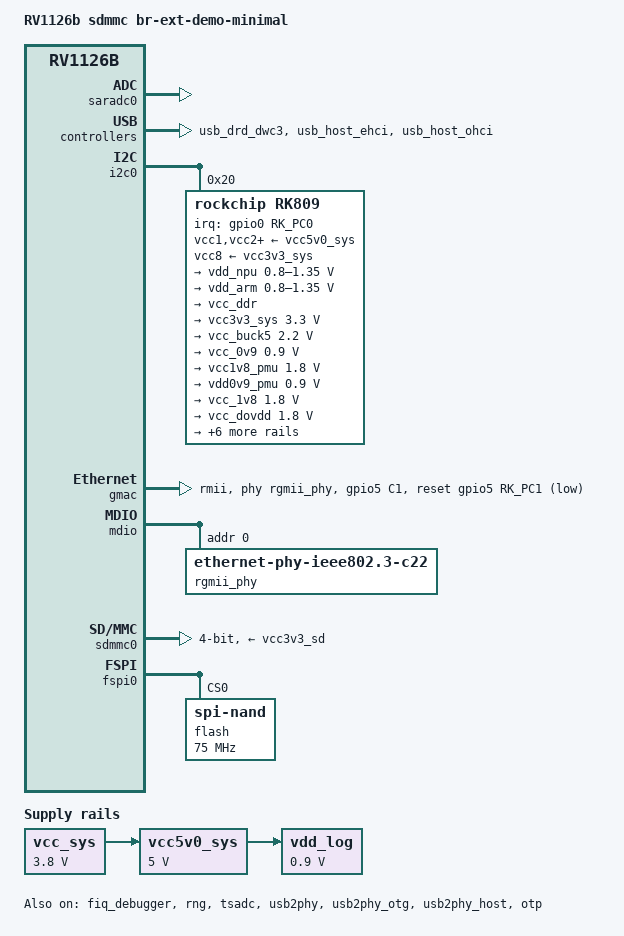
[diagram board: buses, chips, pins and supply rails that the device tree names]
// SPDX-License-Identifier: (GPL-2.0+ OR MIT)
/*
 */

/dts-v1/;
#include "rockchip/rv1126bp.dtsi"
#include <dt-bindings/input/input.h>

/ {
	model = "RV1126b sdmmc br-ext-demo-minimal";
	compatible = "rockchip,rv1126b-ipv-sdmmc-br-ext", "rockchip,rv1126b";

	chosen {
		bootargs = "earlycon=uart8250,mmio32,0x20810000 console=ttyFIQ0 ubi.mtd=3 ubi.block=0,rootfs root=/dev/ubiblock0_0 rootfstype=squashfs rootwait snd_soc_core.prealloc_buffer_size_kbytes=16 coherent_pool=32K";
	};
};

#include <dt-bindings/input/input.h>

&fiq_debugger {
	status = "okay";
};

&rng {
	status = "okay";
};

&saradc0 {
	status = "okay";
};

&tsadc {
	status = "okay";
};

&usb2phy {
	status = "okay";
};

&usb2phy_otg {
	status = "okay";
};

&usb2phy_host {
	status = "okay";
};

&usb_drd_dwc3 {
	status = "okay";
};

&usb_host_ehci {
	status = "okay";
};

&usb_host_ohci {
	status = "okay";
};

/ {
	vcc_sys: vcc-sys {
		compatible = "regulator-fixed";
		regulator-name = "vcc_sys";
		regulator-always-on;
		regulator-boot-on;
		regulator-min-microvolt = <3800000>;
		regulator-max-microvolt = <3800000>;
	};

	vcc5v0_sys: vcc5v0-sys {
		compatible = "regulator-fixed";
		regulator-name = "vcc5v0_sys";
		regulator-always-on;
		regulator-boot-on;
		regulator-min-microvolt = <5000000>;
		regulator-max-microvolt = <5000000>;
		vin-supply = <&vcc_sys>;
	};

	vdd_log: vdd-log {
		compatible = "regulator-fixed";
		regulator-name = "vdd_log";
		regulator-always-on;
		regulator-boot-on;
		regulator-min-microvolt = <900000>;
		regulator-max-microvolt = <900000>;
		vin-supply = <&vcc5v0_sys>;
	};

};

&cpu0 {
	cpu-supply = <&vdd_arm>;
};

&i2c0 {
	status = "okay";

	rk809: pmic@20 {
		compatible = "rockchip,rk809";
		reg = <0x20>;
		interrupt-parent = <&gpio0>;
		interrupts = <RK_PC0 IRQ_TYPE_LEVEL_LOW>;
		pinctrl-names = "default", "pmic-sleep",
				"pmic-power-off";
		pinctrl-0 = <&pmic_int>;
		pinctrl-1 = <&soc_slppin_gpio>;
		pinctrl-2 = <&soc_slppin_gpio>;
		rockchip,system-power-controller;
		wakeup-source;
		#clock-cells = <1>;
		clock-output-names = "rk808-clkout2";
		//fb-inner-reg-idxs = <2>;
		/* 1: rst regs (default in codes), 0: rst the pmic */
		pmic-reset-func = <1>;

		vcc1-supply = <&vcc5v0_sys>;
		vcc2-supply = <&vcc5v0_sys>;
		vcc3-supply = <&vcc5v0_sys>;
		vcc4-supply = <&vcc5v0_sys>;
		vcc5-supply = <&vcc5v0_sys>;
		vcc6-supply = <&vcc5v0_sys>;
		vcc7-supply = <&vcc5v0_sys>;
		vcc8-supply = <&vcc3v3_sys>;
		vcc9-supply = <&vcc5v0_sys>;

		pwrkey {
			status = "okay";
		};

		pinctrl_rk8xx: pinctrl_rk8xx {
			gpio-controller;
			#gpio-cells = <2>;

			rk817_slppin_null: rk817_slppin_null {
				pins = "gpio_slp";
				function = "pin_fun0";
			};

			rk817_slppin_slp: rk817_slppin_slp {
				pins = "gpio_slp";
				function = "pin_fun1";
			};

			rk817_slppin_pwrdn: rk817_slppin_pwrdn {
				pins = "gpio_slp";
				function = "pin_fun2";
			};

			rk817_slppin_rst: rk817_slppin_rst {
				pins = "gpio_slp";
				function = "pin_fun3";
			};
		};

		regulators {
			vdd_npu: vdd_epu: DCDC_REG1 {
				regulator-always-on;
				regulator-boot-on;
				regulator-min-microvolt = <800000>;
				regulator-max-microvolt = <1350000>;
				regulator-ramp-delay = <6001>;
				regulator-initial-mode = <0x2>;
				regulator-name = "vdd_npu";
				regulator-state-mem {
					regulator-on-in-suspend;
					regulator-suspend-microvolt = <950000>;
				};
			};

			vdd_arm: DCDC_REG2 {
				regulator-always-on;
				regulator-boot-on;
				regulator-min-microvolt = <800000>;
				regulator-max-microvolt = <1350000>;
				regulator-ramp-delay = <6001>;
				regulator-initial-mode = <0x2>;
				regulator-name = "vdd_arm";
				regulator-state-mem {
					regulator-off-in-suspend;
				};
			};

			vcc_ddr: DCDC_REG3 {
				regulator-always-on;
				regulator-boot-on;
				regulator-initial-mode = <0x2>;
				regulator-name = "vcc_ddr";
				regulator-state-mem {
					regulator-on-in-suspend;
				};
			};

			vcc3v3_sys: DCDC_REG4 {
				regulator-always-on;
				regulator-boot-on;
				regulator-min-microvolt = <3300000>;
				regulator-max-microvolt = <3300000>;
				regulator-initial-mode = <0x2>;
				regulator-name = "vcc3v3_sys";
				regulator-state-mem {
					regulator-off-in-suspend;
					regulator-suspend-microvolt = <3000000>;
				};
			};

			vcc_buck5: DCDC_REG5 {
				regulator-always-on;
				regulator-boot-on;
				regulator-min-microvolt = <2200000>;
				regulator-max-microvolt = <2200000>;
				regulator-name = "vcc_buck5";
				regulator-state-mem {
					regulator-on-in-suspend;
					regulator-suspend-microvolt = <2200000>;
				};
			};

			vcc_0v9: LDO_REG1 {
				regulator-always-on;
				regulator-boot-on;
				regulator-min-microvolt = <900000>;
				regulator-max-microvolt = <900000>;
				regulator-name = "vcc_0v9";
				regulator-state-mem {
					regulator-on-in-suspend;
					regulator-suspend-microvolt = <900000>;
				};
			};

			vcc1v8_pmu: LDO_REG2 {
				regulator-always-on;
				regulator-boot-on;
				regulator-min-microvolt = <1800000>;
				regulator-max-microvolt = <1800000>;
				regulator-name = "vcc1v8_pmu";
				regulator-state-mem {
					regulator-on-in-suspend;
					regulator-suspend-microvolt = <1800000>;
				};
			};

			vdd0v9_pmu: LDO_REG3 {
				regulator-always-on;
				regulator-boot-on;
				regulator-min-microvolt = <900000>;
				regulator-max-microvolt = <900000>;
				regulator-name = "vcc0v9_pmu";
				regulator-state-mem {
					regulator-on-in-suspend;
					regulator-suspend-microvolt = <900000>;
				};
			};

			vcc_1v8: LDO_REG4 {
				regulator-always-on;
				regulator-boot-on;
				regulator-min-microvolt = <1800000>;
				regulator-max-microvolt = <1800000>;
				regulator-name = "vcc_1v8";
				regulator-state-mem {
					regulator-off-in-suspend;
					regulator-suspend-microvolt = <1800000>;
				};
			};

			vcc_dovdd: LDO_REG5 {
				regulator-boot-on;
				regulator-min-microvolt = <1800000>;
				regulator-max-microvolt = <1800000>;
				regulator-name = "vcc_dovdd";
				regulator-state-mem {
					regulator-off-in-suspend;
				};
			};

			vcc_dvdd: LDO_REG6 {
				regulator-min-microvolt = <1200000>;
				regulator-max-microvolt = <1200000>;
				regulator-name = "vcc_dvdd";
				regulator-state-mem {
					regulator-off-in-suspend;
				};
			};

			vcc_avdd: LDO_REG7 {
				regulator-min-microvolt = <2900000>;
				regulator-max-microvolt = <2900000>;
				regulator-name = "vcc_avdd";
				regulator-state-mem {
					regulator-off-in-suspend;
				};
			};

			vccio_sd: LDO_REG8 {
				regulator-always-on;
				regulator-boot-on;
				regulator-min-microvolt = <1800000>;
				regulator-max-microvolt = <3300000>;
				regulator-init-microvolt = <3300000>;
				regulator-name = "vccio_sd";
				regulator-state-mem {
					regulator-off-in-suspend;
					regulator-suspend-microvolt = <3300000>;
				};
			};

			vcc3v3_sd: LDO_REG9 {
				regulator-always-on;
				regulator-boot-on;
				regulator-min-microvolt = <3300000>;
				regulator-max-microvolt = <3300000>;
				regulator-name = "vcc3v3_sd";
				regulator-state-mem {
					regulator-off-in-suspend;
					regulator-suspend-microvolt = <3300000>;
				};
			};


			vcc5v0_host: SWITCH_REG1 {
				regulator-always-on;
				regulator-boot-on;
				regulator-name = "vcc5v0_host";
			};

			vcc_3v3: SWITCH_REG2 {
				regulator-always-on;
				regulator-boot-on;
				regulator-name = "vcc_3v3";
			};
		};
	};
};

&gmac {
	phy-mode = "rmii";
	clock_in_out = "output";

	snps,reset-gpio = <&gpio5 RK_PC1 GPIO_ACTIVE_LOW>;
	snps,reset-active-low;
	// Reset time is 20ms, 100ms for rtl8211f 
	snps,reset-delays-us = <0 20000 100000>;

	assigned-clocks = <&cru CLK_MAC_OUT2IO>;
	assigned-clock-rates = <25000000>;

	pinctrl-names = "default";
	pinctrl-0 = <&ethm1_miim_pins
		     &ethm1_tx_bus2_pins
		     &ethm1_rx_bus2_pins
         &ethm1_mclk_pins
         &gmac_rst>;

	tx_delay = <0x2a>;
	rx_delay = <0x1a>;

	phy-handle = <&rgmii_phy>;
	status = "okay";
};

&mdio {
	rgmii_phy: phy@0 {
		compatible = "ethernet-phy-ieee802.3-c22";
		reg = <0x0>;
		clocks = <&cru CLK_MAC_OUT2IO>;
	};
};

&pinctrl {

	pmic {
		pmic_int: pmic_int {
			rockchip,pins =
				<0 RK_PC0 RK_FUNC_GPIO &pcfg_pull_up>;
		};

		soc_slppin_gpio: soc_slppin_gpio {
			rockchip,pins =
				<0 RK_PC1 RK_FUNC_GPIO &pcfg_output_low>;
		};
	};

	gpio {
		/omit-if-no-ref/
		gmac_rst: gmac_rst {
			rockchip,pins =
				<5 RK_PC1 RK_FUNC_GPIO &pcfg_pull_none>;
		};
	};
};


&sdmmc0 {
	max-frequency = <200000000>;
	no-sdio;
	no-mmc;
	bus-width = <4>;
	cap-mmc-highspeed;
	cap-sd-highspeed;
	disable-wp;
	supports-sd;
	sd-uhs-sdr12;
	sd-uhs-sdr25;
	sd-uhs-sdr50;
	vmmc-supply = <&vcc3v3_sd>;
	vqmmc-supply = <&vccio_sd>;
	status = "okay";
};

&usb2phy_host {
	phy-supply = <&vcc5v0_host>;
};

&otp {
	status = "okay";
};

&fspi0 {
	status = "okay";

	flash@0 {
		compatible = "spi-nand";
		reg = <0>;
		spi-max-frequency = <75000000>;
		spi-rx-bus-width = <4>;
		spi-tx-bus-width = <1>;
	};
};

&npu_opp_table {
	/delete-property/ rockchip,pvtm-pvtpll;
	/delete-property/ rockchip,grf;
};
